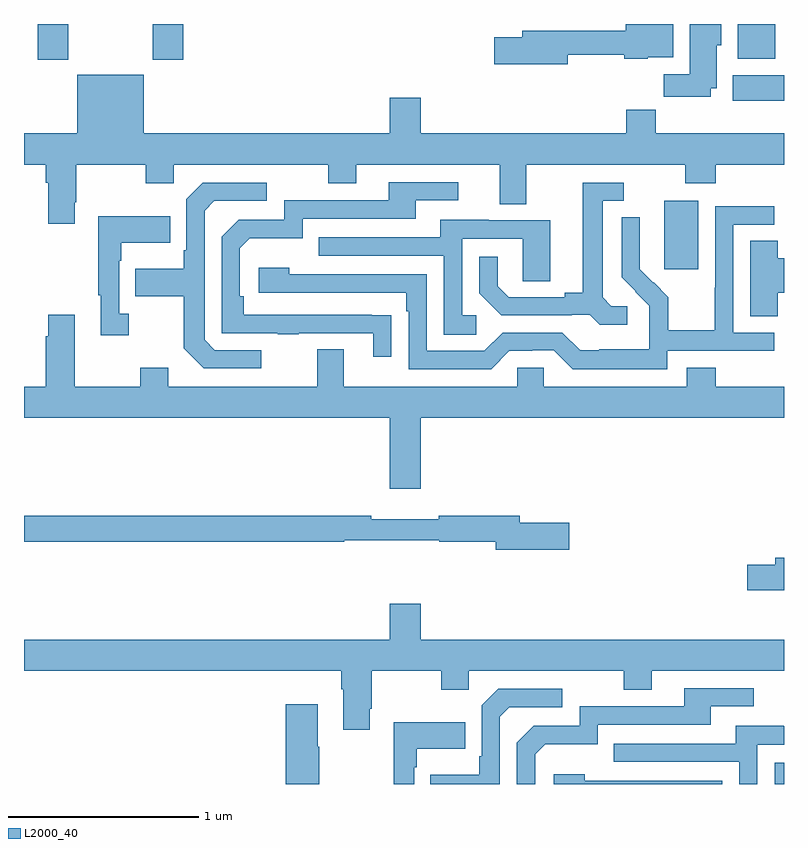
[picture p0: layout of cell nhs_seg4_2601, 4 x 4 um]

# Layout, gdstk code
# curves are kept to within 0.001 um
import gdstk
lib = gdstk.Library(unit=1e-6, precision=1e-09)
def R(c, l, rs):  # rectangles x0, y0, x1, y1
    for r in rs: c.add(gdstk.rectangle(r[:2], r[2:], *l))
def P(c, l, *ps):  # polygons
    for p in ps: c.add(gdstk.Polygon(p, *l))
L2000_40 = (2000, 40)

nhs_seg4_2601 = lib.new_cell('nhs_seg4_2601')
R(nhs_seg4_2601, L2000_40, [(250.95,786.9,251,787.012), (250.37,789.609,250.549,789.97), (250.73,790.496,251,790.63), (247.073,790.713,247.233,790.9), (247.678,790.713,247.838,790.9), (250.757,790.718,250.954,790.9)])
P(nhs_seg4_2601, L2000_40, [(249.862,790.737),(250.159,790.737),(250.159,790.718),(250.284,790.718),(250.284,790.724),(250.417,790.724),(250.417,790.9),(250.166,790.9),(250.166,790.865),(249.623,790.865),(249.623,790.829),(249.474,790.829),(249.474,790.687),(249.862,790.687)],
  [(250.615,790.562),(250.645,790.562),(250.645,790.788),(250.669,790.788),(250.669,790.9),(250.505,790.9),(250.505,790.636),(250.366,790.636),(250.366,790.518),(250.615,790.518)],
  [(249.088,790.513),(248.924,790.513),(248.924,790.324),(247.63,790.324),(247.63,790.633),(247.28,790.633),(247.28,790.324),(247,790.324),(247,790.16),(247.115,790.16),(247.115,790.064),(247.127,790.064),(247.127,789.849),(247.267,789.849),(247.267,789.961),(247.275,789.961),(247.275,790.16),(247.642,790.16),(247.642,790.061),(247.788,790.061),(247.788,790.16),(248.602,790.16),(248.602,790.061),(248.749,790.061),(248.749,790.16),(249.503,790.16),(249.503,789.952),(249.643,789.952),(249.643,790.16),(250.48,790.16),(250.48,790.061),(250.64,790.061),(250.64,790.16),(251,790.16),(251,790.324),(250.325,790.324),(250.325,790.448),(250.169,790.448),(250.169,790.324),(249.088,790.324)],
  [(248.933,789.368),(248.156,789.369),(248.156,789.466),(248.136,789.466),(248.136,789.72),(248.189,789.773),(248.466,789.773),(248.466,789.876),(249.061,789.876),(249.061,789.972),(249.286,789.972),(249.286,790.068),(248.921,790.068),(248.921,789.972),(248.37,789.972),(248.37,789.87),(248.13,789.87),(248.04,789.78),(248.04,789.273),(248.335,789.273),(248.335,789.268),(248.447,789.268),(248.447,789.273),(248.837,789.273),(248.837,789.15),(248.933,789.15)],
  [(248.248,789.183),(248.004,789.183),(247.95,789.237),(247.95,789.918),(248.001,789.969),(248.278,789.969),(248.278,790.065),(247.941,790.065),(247.854,789.978),(247.854,789.709),(247.842,789.709),(247.842,789.613),(247.585,789.613),(247.585,789.466),(247.842,789.466),(247.842,789.193),(247.947,789.087),(248.248,789.087)],
  [(250.174,789.414),(250.092,789.414),(250.045,789.461),(250.045,789.969),(250.156,789.969),(250.156,790.065),(249.941,790.065),(249.941,789.485),(249.845,789.485),(249.845,789.462),(249.55,789.462),(249.493,789.519),(249.493,789.676),(249.396,789.676),(249.396,789.482),(249.512,789.366),(249.884,789.366),(249.884,789.369),(249.978,789.369),(250.03,789.317),(250.174,789.317)],
  [(250.386,789.18),(250.948,789.18),(250.948,789.276),(250.734,789.276),(250.734,789.843),(250.948,789.843),(250.948,789.942),(250.638,789.942),(250.638,789.512),(250.636,789.512),(250.636,789.289),(250.391,789.289),(250.391,789.463),(250.314,789.54),(250.311,789.537),(250.241,789.608),(250.242,789.884),(250.146,789.884),(250.146,789.566),(250.292,789.418),(250.292,789.321),(250.29,789.321),(250.29,789.187),(250.027,789.187),(250.027,789.183),(249.927,789.183),(249.834,789.276),(249.519,789.276),(249.423,789.18),(249.12,789.18),(249.12,789.582),(248.396,789.582),(248.396,789.616),(248.235,789.616),(248.235,789.486),(249.011,789.486),(249.011,789.389),(249.024,789.389),(249.024,789.084),(249.459,789.084),(249.555,789.18),(249.674,789.18),(249.674,789.183),(249.789,789.183),(249.889,789.083),(250.386,789.083)],
  [(247.552,789.374),(247.5,789.374),(247.5,789.653),(247.513,789.653),(247.513,789.749),(247.769,789.749),(247.769,789.889),(247.392,789.889),(247.392,789.473),(247.403,789.473),(247.403,789.261),(247.552,789.261)],
  [(249.379,789.366),(249.306,789.366),(249.306,789.771),(249.624,789.771),(249.624,789.547),(249.769,789.547),(249.769,789.867),(249.445,789.867),(249.445,789.871),(249.191,789.871),(249.191,789.777),(248.551,789.777),(248.551,789.681),(249.21,789.681),(249.21,789.265),(249.379,789.265)],
  [(250.967,789.485),(251,789.485),(251,789.668),(250.967,789.668),(250.967,789.758),(250.823,789.758),(250.823,789.361),(250.967,789.361)],
  [(249.088,788.828),(251,788.828),(251,788.992),(250.64,788.992),(250.64,789.091),(250.487,789.091),(250.487,788.992),(249.735,788.992),(249.735,789.09),(249.597,789.09),(249.597,788.992),(248.683,788.992),(248.683,789.187),(248.543,789.187),(248.543,788.992),(247.759,788.992),(247.759,789.091),(247.612,789.091),(247.612,788.992),(247.267,788.992),(247.267,789.37),(247.127,789.37),(247.127,789.257),(247.115,789.257),(247.115,788.992),(247,788.992),(247,788.828),(248.924,788.828),(248.924,788.454),(249.088,788.454)],
  [(249.871,788.276),(249.61,788.276),(249.61,788.312),(249.184,788.312),(249.184,788.293),(248.828,788.293),(248.828,788.312),(247,788.312),(247,788.176),(248.686,788.176),(248.686,788.184),(249.186,788.184),(249.186,788.176),(249.482,788.176),(249.482,788.134),(249.871,788.134)],
  [(251,788.09),(250.955,788.09),(250.955,788.054),(250.806,788.054),(250.806,787.919),(251,787.919)],
  [(248.821,787.297),(248.829,787.297),(248.829,787.496),(249.196,787.496),(249.196,787.397),(249.342,787.397),(249.342,787.496),(250.156,787.496),(250.156,787.397),(250.303,787.397),(250.303,787.496),(251,787.496),(251,787.66),(249.088,787.66),(249.088,787.849),(248.924,787.849),(248.924,787.66),(247,787.66),(247,787.496),(248.669,787.496),(248.669,787.4),(248.681,787.4),(248.681,787.185),(248.821,787.185)],
  [(249.69,787.056),(249.743,787.109),(250.02,787.109),(250.02,787.212),(250.615,787.212),(250.615,787.308),(250.84,787.308),(250.84,787.404),(250.475,787.404),(250.475,787.308),(249.924,787.308),(249.924,787.206),(249.684,787.206),(249.594,787.116),(249.594,786.9),(249.69,786.9)],
  [(249.504,787.254),(249.555,787.305),(249.832,787.305),(249.832,787.401),(249.495,787.401),(249.408,787.314),(249.408,787.045),(249.396,787.045),(249.396,786.949),(249.139,786.949),(249.139,786.9),(249.504,786.9)],
  [(248.553,787.097),(248.545,787.097),(248.545,787.321),(248.378,787.321),(248.378,786.9),(248.553,786.9)],
  [(249.054,786.989),(249.067,786.989),(249.067,787.085),(249.323,787.085),(249.323,787.225),(248.946,787.225),(248.946,786.9),(249.054,786.9)],
  [(250.86,787.107),(251,787.107),(251,787.203),(250.999,787.203),(250.999,787.207),(250.745,787.207),(250.745,787.113),(250.105,787.113),(250.105,787.017),(250.764,787.017),(250.764,786.9),(250.86,786.9)],
  [(250.674,786.918),(249.95,786.918),(249.95,786.952),(249.789,786.952),(249.789,786.9),(250.674,786.9)])

lib.write_gds('nhs_seg4_2601.gds')
